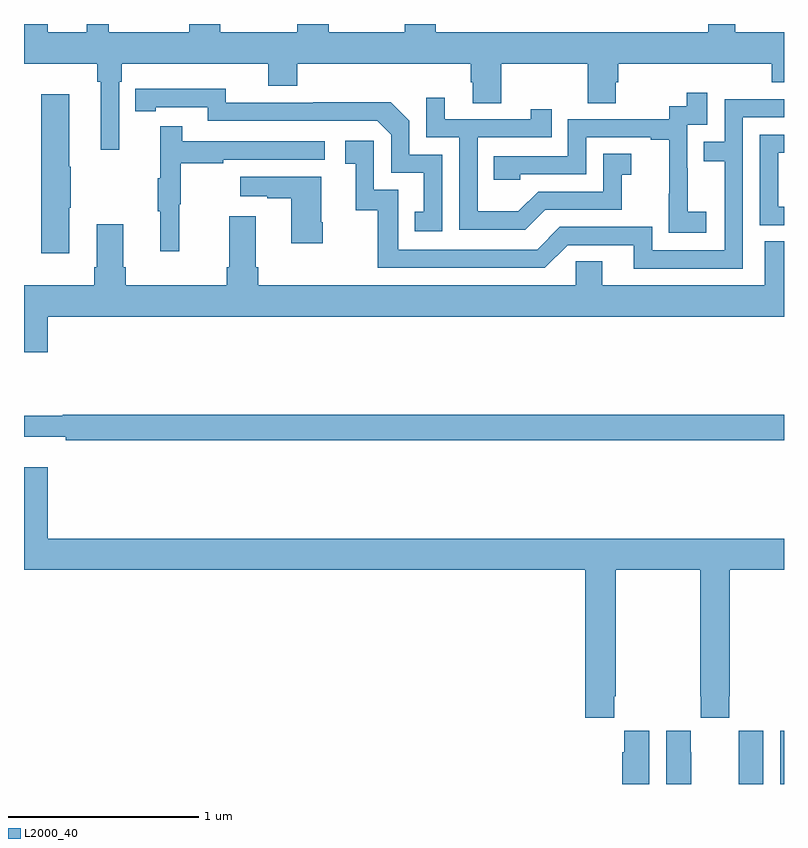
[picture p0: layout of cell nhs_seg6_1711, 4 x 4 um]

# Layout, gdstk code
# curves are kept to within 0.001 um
import gdstk
lib = gdstk.Library(unit=1e-6, precision=1e-09)
def R(c, l, rs):  # rectangles x0, y0, x1, y1
    for r in rs: c.add(gdstk.rectangle(r[:2], r[2:], *l))
def P(c, l, *ps):  # polygons
    for p in ps: c.add(gdstk.Polygon(p, *l))
L2000_40 = (2000, 40)

nhs_seg6_1711 = lib.new_cell('nhs_seg6_1711')
R(nhs_seg6_1711, L2000_40, [(216.98,987.5,217,987.781)])
P(nhs_seg6_1711, L2000_40, [(213.501,991.196),(213.515,991.196),(213.515,991.292),(214.286,991.292),(214.286,991.175),(214.439,991.175),(214.439,991.292),(215.351,991.292),(215.351,991.194),(215.363,991.194),(215.363,991.084),(215.511,991.084),(215.511,991.292),(215.968,991.292),(215.968,991.084),(216.115,991.084),(216.115,991.194),(216.128,991.194),(216.128,991.292),(216.935,991.292),(216.935,991.193),(217,991.193),(217,991.456),(216.744,991.456),(216.744,991.5),(216.602,991.5),(216.602,991.456),(215.167,991.456),(215.167,991.5),(215.003,991.5),(215.003,991.456),(214.603,991.456),(214.603,991.5),(214.439,991.5),(214.439,991.456),(214.033,991.456),(214.033,991.5),(213.869,991.5),(213.869,991.456),(213.445,991.456),(213.445,991.5),(213.329,991.5),(213.329,991.456),(213.124,991.456),(213.124,991.5),(213,991.5),(213,991.292),(213.385,991.292),(213.385,991.196),(213.404,991.196),(213.404,990.837),(213.501,990.837)],
  [(215.202,990.813),(215.028,990.813),(215.028,990.99),(214.93,991.088),(214.522,991.088),(214.522,991.086),(214.062,991.086),(214.062,991.159),(213.586,991.158),(213.586,991.042),(213.694,991.042),(213.694,991.062),(213.966,991.062),(213.966,990.99),(214.86,990.99),(214.932,990.918),(214.932,990.717),(215.105,990.717),(215.105,990.513),(215.056,990.513),(215.056,990.408),(215.202,990.408)],
  [(216.592,990.511),(216.494,990.511),(216.494,990.74),(216.492,990.74),(216.492,990.969),(216.597,990.969),(216.597,991.138),(216.489,991.138),(216.489,991.068),(216.396,991.068),(216.396,990.999),(215.862,990.999),(215.862,990.804),(215.473,990.804),(215.473,990.681),(215.613,990.681),(215.613,990.708),(215.958,990.708),(215.958,990.903),(216.299,990.903),(216.299,990.891),(216.395,990.891),(216.395,990.607),(216.394,990.607),(216.394,990.401),(216.592,990.401)],
  [(213.238,990.532),(213.246,990.532),(213.246,990.749),(213.238,990.749),(213.238,991.129),(213.092,991.129),(213.092,990.294),(213.238,990.294)],
  [(215.743,990.522),(216.147,990.522),(216.147,990.707),(216.196,990.707),(216.196,990.817),(216.048,990.817),(216.048,990.618),(215.706,990.618),(215.602,990.514),(215.388,990.514),(215.388,990.903),(215.777,990.903),(215.777,991.051),(215.666,991.051),(215.666,990.999),(215.215,990.999),(215.215,991.111),(215.118,991.111),(215.118,990.903),(215.292,990.903),(215.292,990.417),(215.638,990.417)],
  [(216.783,991.008),(217,991.008),(217,991.104),(216.687,991.104),(216.687,990.879),(216.577,990.879),(216.577,990.778),(216.687,990.778),(216.687,990.309),(216.306,990.309),(216.306,990.432),(215.82,990.432),(215.7,990.312),(214.971,990.312),(214.971,990.627),(214.842,990.627),(214.842,990.886),(214.692,990.886),(214.692,990.765),(214.745,990.765),(214.745,990.519),(214.863,990.519),(214.863,990.216),(215.742,990.216),(215.862,990.336),(216.209,990.336),(216.209,990.213),(216.783,990.213)],
  [(213.818,990.552),(213.826,990.552),(213.826,990.766),(214.049,990.766),(214.049,990.786),(214.582,990.786),(214.582,990.882),(213.833,990.882),(213.833,990.961),(213.716,990.961),(213.716,990.689),(213.705,990.689),(213.705,990.515),(213.716,990.515),(213.716,990.303),(213.818,990.303)],
  [(217,990.537),(216.969,990.537),(216.969,990.822),(217,990.822),(217,990.918),(216.873,990.918),(216.873,990.441),(217,990.441)],
  [(214.572,990.457),(214.564,990.457),(214.564,990.697),(214.137,990.697),(214.137,990.593),(214.28,990.593),(214.28,990.583),(214.406,990.583),(214.406,990.345),(214.572,990.345)],
  [(213.124,989.96),(217,989.96),(217,990.356),(216.899,990.356),(216.899,990.124),(216.043,990.124),(216.043,990.251),(215.904,990.251),(215.904,990.124),(214.232,990.124),(214.232,990.22),(214.219,990.22),(214.219,990.487),(214.079,990.487),(214.079,990.22),(214.067,990.22),(214.067,990.124),(213.536,990.124),(213.536,990.22),(213.523,990.22),(213.523,990.445),(213.383,990.445),(213.383,990.22),(213.371,990.22),(213.371,990.124),(213,990.124),(213,989.772),(213.124,989.772)],
  [(217,989.444),(213.203,989.444),(213.203,989.437),(213,989.437),(213,989.327),(213.22,989.327),(213.22,989.308),(217,989.308)],
  [(216.107,987.961),(216.114,987.961),(216.114,988.628),(216.559,988.628),(216.559,987.961),(216.561,987.961),(216.561,987.849),(216.711,987.849),(216.711,987.961),(216.714,987.961),(216.714,988.628),(217,988.628),(217,988.792),(213.124,988.792),(213.124,989.167),(213,989.167),(213,988.628),(215.954,988.628),(215.954,987.849),(216.107,987.849)],
  [(216.892,987.781),(216.762,987.781),(216.762,987.668),(216.761,987.668),(216.761,987.5),(216.892,987.5)],
  [(216.511,987.668),(216.51,987.668),(216.51,987.781),(216.38,987.781),(216.38,987.5),(216.511,987.5)],
  [(216.292,987.781),(216.158,987.781),(216.158,987.668),(216.149,987.668),(216.149,987.5),(216.292,987.5)])

lib.write_gds('nhs_seg6_1711.gds')
